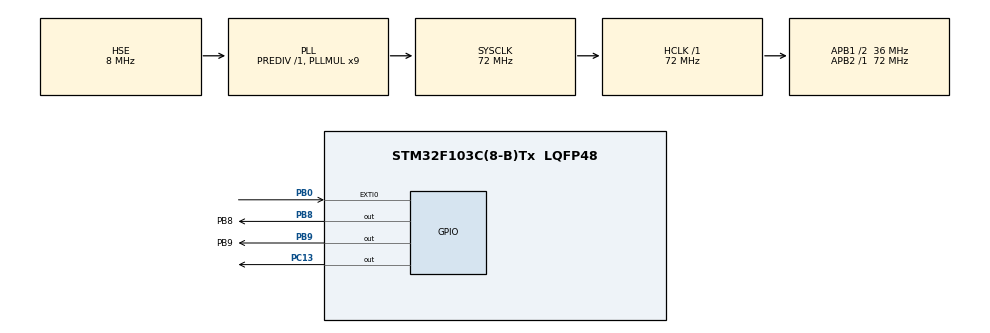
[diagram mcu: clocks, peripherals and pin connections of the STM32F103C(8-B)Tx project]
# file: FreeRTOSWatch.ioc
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FREERTOS.Tasks01=defaultTask,24,128,StartDefaultTask,Default,NULL,Dynamic,NULL,NULL
Mcu.Family=STM32F1
Mcu.Name=STM32F103C(8-B)Tx
Mcu.Package=LQFP48
NVIC.EXTI0_IRQn=true\:5\:0\:true\:false\:true\:false\:true\:true\:true
NVIC.PriorityGroup=NVIC_PRIORITYGROUP_4
NVIC.TIM4_IRQn=true\:15\:0\:false\:false\:true\:false\:false\:true\:true
NVIC.TimeBase=TIM4_IRQn
NVIC.TimeBaseIP=TIM4
PA13.Mode=Serial_Wire
PA13.Signal=SYS_JTMS-SWDIO
PA14.Mode=Serial_Wire
PA14.Signal=SYS_JTCK-SWCLK
PB0.Signal=GPXTI0
PB8.GPIO_Label=PB8
PB8.GPIO_ModeDefaultOutputPP=GPIO_MODE_OUTPUT_OD
PB8.GPIO_PuPd=GPIO_NOPULL
PB8.Signal=GPIO_Output
PB9.GPIO_Label=PB9
PB9.GPIO_ModeDefaultOutputPP=GPIO_MODE_OUTPUT_OD
PB9.GPIO_PuPd=GPIO_NOPULL
PB9.Signal=GPIO_Output
PC13-TAMPER-RTC.Signal=GPIO_Output
PD0-OSC_IN.Mode=HSE-External-Oscillator
PD0-OSC_IN.Signal=RCC_OSC_IN
PD1-OSC_OUT.Mode=HSE-External-Oscillator
PD1-OSC_OUT.Signal=RCC_OSC_OUT
ProjectManager.HeapSize=0x200
ProjectManager.StackSize=0x400
ProjectManager.TargetToolchain=MDK-ARM V5.32
RCC.AHBFreq_Value=72000000
RCC.APB1CLKDivider=RCC_HCLK_DIV2
RCC.APB1Freq_Value=36000000
RCC.APB1TimFreq_Value=72000000
RCC.APB2Freq_Value=72000000
RCC.APB2TimFreq_Value=72000000
RCC.HCLKFreq_Value=72000000
RCC.PLLMUL=RCC_PLL_MUL9
RCC.PLLSourceVirtual=RCC_PLLSOURCE_HSE
RCC.SYSCLKFreq_VALUE=72000000
RCC.SYSCLKSource=RCC_SYSCLKSOURCE_PLLCLK
RCC.USBFreq_Value=72000000
TIM1.ClockDivision=TIM_CLOCKDIVISION_DIV2
TIM1.Period=9999
TIM1.Prescaler=7999
VP_FREERTOS_VS_CMSIS_V2.Mode=CMSIS_V2
VP_SYS_VS_tim4.Mode=TIM4
VP_TIM1_VS_ClockSourceINT.Mode=Internal
board=custom

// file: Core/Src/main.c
/* USER CODE BEGIN Header */
/**
  ******************************************************************************
  * @file           : main.c
  * @brief          : Main program body
  ******************************************************************************
  * @attention
  *
  * Copyright (c) 2025 STMicroelectronics.
  * All rights reserved.
  *
  * This software is licensed under terms that can be found in the LICENSE file
  * in the root directory of this software component.
  * If no LICENSE file comes with this software, it is provided AS-IS.
  *
  ******************************************************************************
  */
/* USER CODE END Header */
#include "main.h"
#include "cmsis_os.h"
#include "tim.h"
#include "gpio.h"

void SystemClock_Config(void);
void MX_FREERTOS_Init(void);

int main(void)
{

  /* MCU Configuration--------------------------------------------------------*/

  /* Reset of all peripherals, Initializes the Flash interface and the Systick. */
  HAL_Init();

  /* Configure the system clock */
  SystemClock_Config();

  /* Initialize all configured peripherals */
  MX_GPIO_Init();
  MX_TIM1_Init();

  /* Init scheduler */
  osKernelInitialize();  /* Call init function for freertos objects (in cmsis_os2.c) */
  MX_FREERTOS_Init();

  /* Start scheduler */
  osKernelStart();

  /* We should never get here as control is now taken by the scheduler */

  /* Infinite loop */
  while (1)
  {

  }
}

void SystemClock_Config(void)
{
  RCC_OscInitTypeDef RCC_OscInitStruct = {0};
  RCC_ClkInitTypeDef RCC_ClkInitStruct = {0};

  /** Initializes the RCC Oscillators according to the specified parameters
  * in the RCC_OscInitTypeDef structure.
  */
  RCC_OscInitStruct.OscillatorType = RCC_OSCILLATORTYPE_HSE;
  RCC_OscInitStruct.HSEState = RCC_HSE_ON;
  RCC_OscInitStruct.HSEPredivValue = RCC_HSE_PREDIV_DIV1;
  RCC_OscInitStruct.HSIState = RCC_HSI_ON;
  RCC_OscInitStruct.PLL.PLLState = RCC_PLL_ON;
  RCC_OscInitStruct.PLL.PLLSource = RCC_PLLSOURCE_HSE;
  RCC_OscInitStruct.PLL.PLLMUL = RCC_PLL_MUL9;
  if (HAL_RCC_OscConfig(&RCC_OscInitStruct) != HAL_OK)
  {
    Error_Handler();
  }

  /** Initializes the CPU, AHB and APB buses clocks
  */
  RCC_ClkInitStruct.ClockType = RCC_CLOCKTYPE_HCLK|RCC_CLOCKTYPE_SYSCLK
                              |RCC_CLOCKTYPE_PCLK1|RCC_CLOCKTYPE_PCLK2;
  RCC_ClkInitStruct.SYSCLKSource = RCC_SYSCLKSOURCE_PLLCLK;
  RCC_ClkInitStruct.AHBCLKDivider = RCC_SYSCLK_DIV1;
  RCC_ClkInitStruct.APB1CLKDivider = RCC_HCLK_DIV2;
  RCC_ClkInitStruct.APB2CLKDivider = RCC_HCLK_DIV1;

  if (HAL_RCC_ClockConfig(&RCC_ClkInitStruct, FLASH_LATENCY_2) != HAL_OK)
  {
    Error_Handler();
  }
}

void HAL_TIM_PeriodElapsedCallback(TIM_HandleTypeDef *htim)
{
  if (htim->Instance == TIM4)
  {
    HAL_IncTick();
  }
}

void Error_Handler(void)
{
  __disable_irq();
  while (1)
  {
  }
}

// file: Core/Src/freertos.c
/* USER CODE BEGIN Header */
/**
  ******************************************************************************
  * File Name          : freertos.c
  * Description        : Code for freertos applications
  ******************************************************************************
  * @attention
  *
  * Copyright (c) 2025 STMicroelectronics.
  * All rights reserved.
  *
  * This software is licensed under terms that can be found in the LICENSE file
  * in the root directory of this software component.
  * If no LICENSE file comes with this software, it is provided AS-IS.
  *
  ******************************************************************************
  */
/* USER CODE END Header */

#include "FreeRTOS.h"
#include "task.h"
#include "main.h"
#include "cmsis_os.h"

/* USER CODE BEGIN Includes */
#include "timers.h"
#include "queue.h"
#include "ShowTimeTask.h"
#include "ShowMenuTask.h"

/* USER CODE END Includes */

/* USER CODE BEGIN PD */
#define Task_default_size 128
/* USER CODE END PD */

/* USER CODE BEGIN Variables */
TimerHandle_t g_Timer;

TaskHandle_t xShowTimeTaskHandle = NULL;
TaskHandle_t xShowMenuTaskHandle = NULL;

QueueHandle_t g_xQueueMenu;
/* USER CODE END Variables */
/* Definitions for defaultTask */
osThreadId_t defaultTaskHandle;
const osThreadAttr_t defaultTask_attributes = {
  .name = "defaultTask",
  .stack_size = 128 * 4,
  .priority = (osPriority_t) osPriorityNormal,
};

void StartDefaultTask(void *argument);

void MX_FREERTOS_Init(void); /* (MISRA C 2004 rule 8.1) */

void MX_FREERTOS_Init(void) {

  /* USER CODE BEGIN RTOS_TIMERS */
  /* start timers, add new ones, ... */

	g_Timer = xTimerCreate(
								"Timer1",
								1000,
								pdTRUE,
								NULL,
								(TimerCallbackFunction_t)TimerCallBackFun);

  /* USER CODE END RTOS_TIMERS */

  /* Create the thread(s) */
  /* creation of defaultTask */
  defaultTaskHandle = osThreadNew(StartDefaultTask, NULL, &defaultTask_attributes);

  /* USER CODE BEGIN RTOS_THREADS */
  /* add threads, ... */
//	xTaskCreate(ShowTimeTask,"ShowTimeTask",128,NULL,osPriorityNormal,&xShowTimeTaskHandle);
	xTaskCreate(ShowMenuTask,"ShowTimeTask",128,NULL,osPriorityNormal,&xShowMenuTaskHandle);

  /* USER CODE END RTOS_THREADS */

}

void StartDefaultTask(void *argument)
{
  /* USER CODE BEGIN StartDefaultTask */

	if(g_Timer != NULL)
	{
		xTimerStart(g_Timer, 0);
	}
  /* Infinite loop */
  for(;;)
  {
    osDelay(1);
  }
  /* USER CODE END StartDefaultTask */
}
